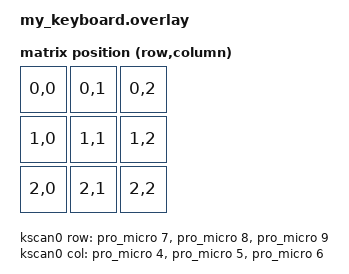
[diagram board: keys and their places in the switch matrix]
/ {
    kscan0: kscan0 {
        compatible = "zmk,kscan-gpio-matrix";
        diode-direction = "col2row";
        wakeup-source;

        col-gpios
            = <&pro_micro 4 GPIO_ACTIVE_HIGH>
            , <&pro_micro 5 GPIO_ACTIVE_HIGH>
            , <&pro_micro 6 GPIO_ACTIVE_HIGH>
            ;

        row-gpios
            = <&pro_micro 7 (GPIO_ACTIVE_HIGH | GPIO_PULL_DOWN)>
            , <&pro_micro 8 (GPIO_ACTIVE_HIGH | GPIO_PULL_DOWN)>
            , <&pro_micro 9 (GPIO_ACTIVE_HIGH | GPIO_PULL_DOWN)>
            ;
    };
};

#include <dt-bindings/zmk/matrix_transform.h> // Put this with the other includes at the top of your overlay

/ {
    default_transform: keymap_transform0 {
        compatible = "zmk,matrix-transform";
        columns = <3>; // Length of the "col-gpios" array
        rows = <3>; // Length of the "row-gpios" array
        map = <
        //   Key 1 | Key 2 | Key 3
            RC(0,0) RC(0,1) RC(0,2)
        //   Key 4 | Key 5 | Key 6
            RC(1,0) RC(1,1) RC(1,2)
        //   Key 7 | Key 8 | Key 9
            RC(2,0) RC(2,1) RC(2,2)
        >;
    };
};

/ {
    physical_layout0: physical_layout_0 {
        compatible = "zmk,physical-layout";
        display-name = "Default Layout";
        kscan = <&kscan0>;
        transform = <&default_transform>;
    };

    /* pd0 はルート直下に置くのが一般的です */
    pd0: analog_stick {
        compatible = "zmk,input-analog-axis";
        /* 19(P0.02) と 20(P0.29) */
        gpios = <&gpio0 2 (GPIO_ACTIVE_HIGH)>, 
                <&gpio0 29 (GPIO_ACTIVE_HIGH)>;
    };

    /* input_configs ではなく zmk,input-listener の仕様に合わせます */
    joystick_split: virtual_input_joystick {
        compatible = "zmk,input-split";
        device = <&pd0>;
    };
};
